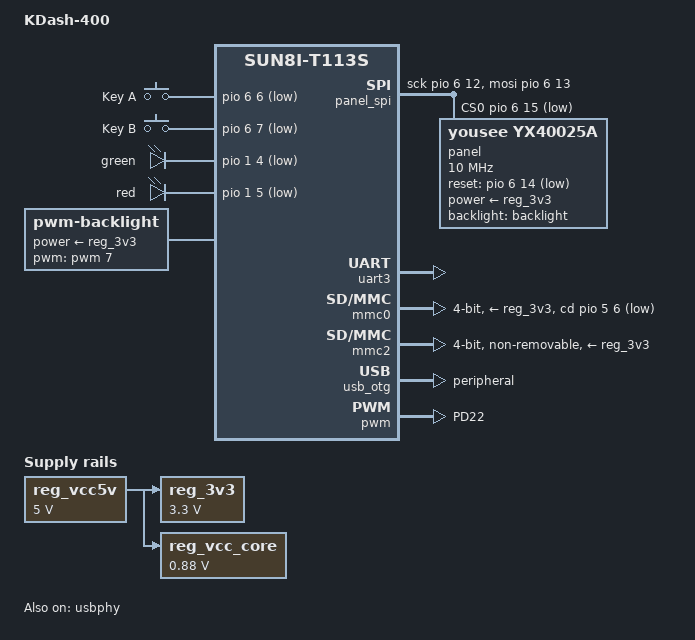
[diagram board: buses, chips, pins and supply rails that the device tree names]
// SPDX-License-Identifier: (GPL-2.0+ OR MIT)
// KDash-400 U-Boot device tree — Allwinner T113-S3 (dual Cortex-A7)
// Copyright (C) 2024 Kirby Nankivell

/dts-v1/;

#include "sun8i-t113s.dtsi"
#include <dt-bindings/gpio/gpio.h>
#include <dt-bindings/pwm/pwm.h>

/ {
	model = "KDash-400";
	compatible = "kdash,kdash-400", "allwinner,sun8i-t113s";

	aliases {
		serial3 = &uart3;
	};

	chosen {
		stdout-path = "serial3:115200n8";
	};

	/* ---------- Buttons ---------- */

	buttons {
		compatible = "gpio-keys";

		button-a {
			label = "Key A";
			gpios = <&pio 6 6 GPIO_ACTIVE_LOW>; /* PG6 */
			linux,code = <30>; /* KEY_A — required by U-Boot button-gpio probe */
		};

		button-b {
			label = "Key B";
			gpios = <&pio 6 7 GPIO_ACTIVE_LOW>; /* PG7 */
			linux,code = <48>; /* KEY_B */
		};
	};

	/* ---------- LEDs ---------- */

	leds {
		compatible = "gpio-leds";

		led-green {
			label = "green";
			gpios = <&pio 1 4 GPIO_ACTIVE_LOW>; /* PB4 */
			default-state = "off";
		};

		led-red {
			label = "red";
			gpios = <&pio 1 5 GPIO_ACTIVE_LOW>; /* PB5 */
			default-state = "on";
		};
	};

	/* ---------- Regulators ---------- */

	reg_vcc5v: regulator-5v {
		compatible = "regulator-fixed";
		regulator-name = "vcc-5v";
		regulator-min-microvolt = <5000000>;
		regulator-max-microvolt = <5000000>;
		regulator-always-on;
	};

	reg_3v3: regulator-3v3 {
		compatible = "regulator-fixed";
		regulator-name = "vcc-3v3";
		regulator-min-microvolt = <3300000>;
		regulator-max-microvolt = <3300000>;
		vin-supply = <&reg_vcc5v>;
		regulator-always-on;
	};

	/* ---------- Display ---------- */

	backlight: pwm-backlight {
		compatible = "pwm-backlight";
		pwms = <&pwm 7 10000000 0>; /* PWM ch7 (PD22), 10ms period, normal polarity */
		brightness-levels = <0 1 2 3 4 5 6 7 8 9>;
		default-brightness-level = <8>;
		power-supply = <&reg_3v3>;
	};

	panel_spi: spi-gpio {
		compatible = "spi-gpio";
		#address-cells = <1>;
		#size-cells = <0>;
		sck-gpios  = <&pio 6 12 GPIO_ACTIVE_HIGH>; /* PG12: SCLK */
		mosi-gpios = <&pio 6 13 GPIO_ACTIVE_HIGH>; /* PG13: MOSI */
		cs-gpios   = <&pio 6 15 GPIO_ACTIVE_LOW>;  /* PG15: CS */
		num-chipselects = <1>;

		panel@0 {
			compatible = "yousee,yx40025a";
			reg = <0>;
			spi-max-frequency = <10000000>;
			spi-3wire;
			reset-gpios = <&pio 6 14 GPIO_ACTIVE_LOW>; /* PG14: RESET */
			backlight = <&backlight>;
			power-supply = <&reg_3v3>;
		};
	};

	/* SY8008 DC/DC, also supplying VDD-SYS */
	reg_vcc_core: regulator-core {
		compatible = "regulator-fixed";
		regulator-name = "vcc-core";
		regulator-min-microvolt = <880000>;
		regulator-max-microvolt = <880000>;
		vin-supply = <&reg_vcc5v>;
		regulator-always-on;
	};
};

/* ---------- CPU voltage ---------- */

&cpu0 { cpu-supply = <&reg_vcc_core>; };
&cpu1 { cpu-supply = <&reg_vcc_core>; };

/* ---------- Crystal ---------- */

&dcxo {
	clock-frequency = <24000000>;
};

/* ---------- GPIO controller ---------- */

&pio {
	vcc-pb-supply = <&reg_3v3>;
	vcc-pd-supply = <&reg_3v3>;
	vcc-pf-supply = <&reg_3v3>;
	vcc-pg-supply = <&reg_3v3>;
};

/* ---------- Console ---------- */

&uart3 {
	pinctrl-names = "default";
	pinctrl-0 = <&uart3_pb_pins>;
	status = "okay";
};

/* ---------- Storage ---------- */

&mmc0 {
	/* SD card — primary boot media and recovery */
	pinctrl-0 = <&mmc0_pins>;
	pinctrl-names = "default";
	vmmc-supply = <&reg_3v3>;
	cd-gpios = <&pio 5 6 GPIO_ACTIVE_LOW>; /* PF6: card detect */
	disable-wp;
	bus-width = <4>;
	status = "okay";
};

&mmc2 {
	/* eMMC — secondary boot media and root storage */
	pinctrl-0 = <&mmc2_pins>;
	pinctrl-names = "default";
	vmmc-supply = <&reg_3v3>;
	non-removable;
	bus-width = <4>;
	status = "okay";
};

/* ---------- USB ---------- */

&usb_otg {
	dr_mode = "peripheral";
	status = "okay";
};

&usbphy {
	usb0_vbus-supply = <&reg_vcc5v>;
	status = "okay";
};

/* ---------- Display ---------- */

&pio {
	pwm7_pd22_pin: pwm7-pd22-pin {
		/* PWM7 (LCD backlight): PD22 */
		pins = "PD22";
		function = "pwm7";
	};
};

&{/soc} {
	pwm: pwm@2000c00 {
		compatible = "allwinner,sun20i-d1-pwm";
		reg = <0x2000c00 0x400>;
		clocks = <&ccu CLK_BUS_PWM>, <&dcxo>, <&ccu CLK_APB0>;
		clock-names = "bus", "hosc", "apb";
		resets = <&ccu RST_BUS_PWM>;
		pinctrl-names = "default";
		pinctrl-0 = <&pwm7_pd22_pin>;
		#pwm-cells = <3>;
		status = "okay";
	};
};
